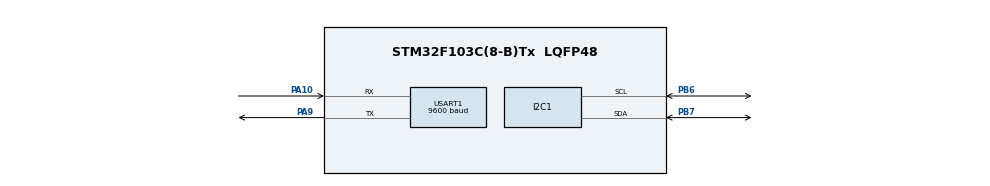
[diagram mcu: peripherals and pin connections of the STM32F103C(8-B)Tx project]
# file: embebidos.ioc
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I2C1.I2C_Mode=I2C_Fast
Mcu.Family=STM32F1
Mcu.Name=STM32F103C(8-B)Tx
Mcu.Package=LQFP48
NVIC.PriorityGroup=NVIC_PRIORITYGROUP_4
PA10.Mode=Asynchronous
PA10.Signal=USART1_RX
PA9.Mode=Asynchronous
PA9.Signal=USART1_TX
PB6.Mode=I2C
PB6.Signal=I2C1_SCL
PB7.Mode=I2C
PB7.Signal=I2C1_SDA
ProjectManager.HeapSize=0x200
ProjectManager.StackSize=0x400
ProjectManager.TargetToolchain=STM32CubeIDE
RCC.APB1Freq_Value=8000000
RCC.APB2Freq_Value=8000000
USART1.BaudRate=9600
USART1.VirtualMode=VM_ASYNC
VP_SYS_VS_ND.Mode=No_Debug
board=custom

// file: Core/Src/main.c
/* USER CODE BEGIN Header */
/**
  ******************************************************************************
  * @file           : main.c
  * @brief          : Main program body
  ******************************************************************************
  * @attention
  *
  * Copyright (c) 2025 STMicroelectronics.
  * All rights reserved.
  *
  * This software is licensed under terms that can be found in the LICENSE file
  * in the root directory of this software component.
  * If no LICENSE file comes with this software, it is provided AS-IS.
  *
  ******************************************************************************
  */
/* USER CODE END Header */
#include "main.h"

/* USER CODE BEGIN Includes */
#include "fonts.h"
#include "imagenes.h"
#include "SSD1306.h"
#include "stdio.h"
#include "stdint.h"
#include "stdlib.h"
#include "string.h"
#include "uart.h"
/* USER CODE END Includes */

I2C_HandleTypeDef hi2c1;

UART_HandleTypeDef huart1;

void SystemClock_Config(void);
static void MX_GPIO_Init(void);
static void MX_I2C1_Init(void);
static void MX_USART1_UART_Init(void);

int main(void)
{

  /* MCU Configuration--------------------------------------------------------*/

  /* Reset of all peripherals, Initializes the Flash interface and the Systick. */
  HAL_Init();

  /* Configure the system clock */
  SystemClock_Config();

  /* Initialize all configured peripherals */
  MX_GPIO_Init();
  MX_I2C1_Init();
  MX_USART1_UART_Init();
  /* USER CODE BEGIN 2 */
OLED_init();
OLED_print_text(1, 1, "Hola Mundo", &font1);
uartx_write_text(&huart1, "Hola Mundo");
HAL_Delay(1000);
OLED_DrawBitmap(0, 0, 128, 64, &DOBBY, NOR, SI);
  /* USER CODE END 2 */

  /* Infinite loop */
  /* USER CODE BEGIN WHILE */
  while (1)
  {
	  uartx_write_text(&huart1, "ESTUDIEN\r\n");
	  HAL_Delay(1000);
    /* USER CODE END WHILE */

  }
}

void SystemClock_Config(void)
{
  RCC_OscInitTypeDef RCC_OscInitStruct = {0};
  RCC_ClkInitTypeDef RCC_ClkInitStruct = {0};

  /** Initializes the RCC Oscillators according to the specified parameters
  * in the RCC_OscInitTypeDef structure.
  */
  RCC_OscInitStruct.OscillatorType = RCC_OSCILLATORTYPE_HSI;
  RCC_OscInitStruct.HSIState = RCC_HSI_ON;
  RCC_OscInitStruct.HSICalibrationValue = RCC_HSICALIBRATION_DEFAULT;
  RCC_OscInitStruct.PLL.PLLState = RCC_PLL_NONE;
  if (HAL_RCC_OscConfig(&RCC_OscInitStruct) != HAL_OK)
  {
    Error_Handler();
  }

  /** Initializes the CPU, AHB and APB buses clocks
  */
  RCC_ClkInitStruct.ClockType = RCC_CLOCKTYPE_HCLK|RCC_CLOCKTYPE_SYSCLK
                              |RCC_CLOCKTYPE_PCLK1|RCC_CLOCKTYPE_PCLK2;
  RCC_ClkInitStruct.SYSCLKSource = RCC_SYSCLKSOURCE_HSI;
  RCC_ClkInitStruct.AHBCLKDivider = RCC_SYSCLK_DIV1;
  RCC_ClkInitStruct.APB1CLKDivider = RCC_HCLK_DIV1;
  RCC_ClkInitStruct.APB2CLKDivider = RCC_HCLK_DIV1;

  if (HAL_RCC_ClockConfig(&RCC_ClkInitStruct, FLASH_LATENCY_0) != HAL_OK)
  {
    Error_Handler();
  }
}

static void MX_I2C1_Init(void)
{

  hi2c1.Instance = I2C1;
  hi2c1.Init.ClockSpeed = 400000;
  hi2c1.Init.DutyCycle = I2C_DUTYCYCLE_2;
  hi2c1.Init.OwnAddress1 = 0;
  hi2c1.Init.AddressingMode = I2C_ADDRESSINGMODE_7BIT;
  hi2c1.Init.DualAddressMode = I2C_DUALADDRESS_DISABLE;
  hi2c1.Init.OwnAddress2 = 0;
  hi2c1.Init.GeneralCallMode = I2C_GENERALCALL_DISABLE;
  hi2c1.Init.NoStretchMode = I2C_NOSTRETCH_DISABLE;
  if (HAL_I2C_Init(&hi2c1) != HAL_OK)
  {
    Error_Handler();
  }

}

static void MX_USART1_UART_Init(void)
{

  huart1.Instance = USART1;
  huart1.Init.BaudRate = 9600;
  huart1.Init.WordLength = UART_WORDLENGTH_8B;
  huart1.Init.StopBits = UART_STOPBITS_1;
  huart1.Init.Parity = UART_PARITY_NONE;
  huart1.Init.Mode = UART_MODE_TX_RX;
  huart1.Init.HwFlowCtl = UART_HWCONTROL_NONE;
  huart1.Init.OverSampling = UART_OVERSAMPLING_16;
  if (HAL_UART_Init(&huart1) != HAL_OK)
  {
    Error_Handler();
  }

}

static void MX_GPIO_Init(void)
{

  /* GPIO Ports Clock Enable */
  __HAL_RCC_GPIOA_CLK_ENABLE();
  __HAL_RCC_GPIOB_CLK_ENABLE();

}

void Error_Handler(void)
{
  __disable_irq();
  while (1)
  {
  }
}
